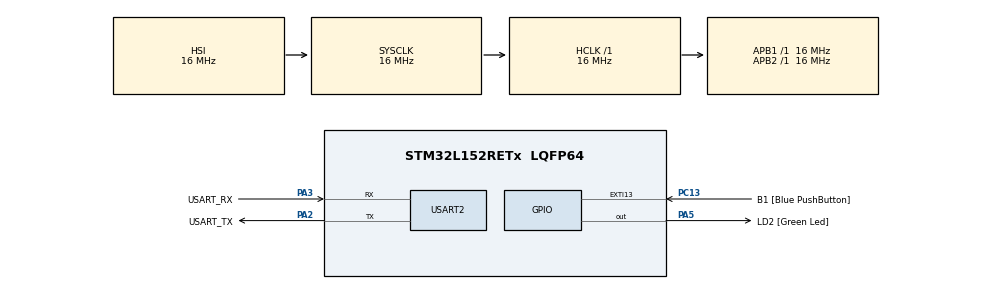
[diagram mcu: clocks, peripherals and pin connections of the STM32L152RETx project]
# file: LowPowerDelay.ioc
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Mcu.Family=STM32L1
Mcu.Name=STM32L152RETx
Mcu.Package=LQFP64
NVIC.PriorityGroup=NVIC_PRIORITYGROUP_0
NVIC.RTC_WKUP_IRQn=true\:0\:0\:false\:false\:true\:true
PA13.GPIO_Label=TMS
PA13.Mode=Serial_Wire
PA13.Signal=SYS_JTMS-SWDIO
PA14.GPIO_Label=TCK
PA14.Mode=Serial_Wire
PA14.Signal=SYS_JTCK-SWCLK
PA2.GPIO_Label=USART_TX
PA2.Mode=Asynchronous
PA2.Signal=USART2_TX
PA3.GPIO_Label=USART_RX
PA3.Mode=Asynchronous
PA3.Signal=USART2_RX
PA5.GPIO_Label=LD2 [Green Led]
PA5.Signal=GPIO_Output
PB3.GPIO_Label=SWO
PB3.Signal=SYS_JTDO-TRACESWO
PC13-WKUP2.GPIO_Label=B1 [Blue PushButton]
PC13-WKUP2.Signal=GPXTI13
PC14-OSC32_IN.Mode=LSE-External-Oscillator
PC14-OSC32_IN.Signal=RCC_OSC32_IN
PC15-OSC32_OUT.Mode=LSE-External-Oscillator
PC15-OSC32_OUT.Signal=RCC_OSC32_OUT
PH0-OSC_IN.Mode=HSE-External-Clock-Source
PH0-OSC_IN.Signal=RCC_OSC_IN
PH1-OSC_OUT.Signal=RCC_OSC_OUT
ProjectManager.HeapSize=0x200
ProjectManager.StackSize=0x400
ProjectManager.TargetToolchain=MDK-ARM V5
RCC.48MHZClocksFreq_Value=24000000
RCC.AHBFreq_Value=16000000
RCC.APB1Freq_Value=16000000
RCC.APB1TimFreq_Value=16000000
RCC.APB2Freq_Value=16000000
RCC.APB2TimFreq_Value=16000000
RCC.HCLKFreq_Value=16000000
RCC.HSE_VALUE=8000000
RCC.HSI_VALUE=16000000
RCC.MSIClockRange=RCC_MSIRANGE_6
RCC.MSI_VALUE=4194000
RCC.RTCClockSelection=RCC_RTCCLKSOURCE_LSI
RCC.RTCClockSelectionVirtual=RCC_RTCCLKSOURCE_LSE
RCC.SYSCLKFreq_VALUE=16000000
RCC.SYSCLKSource=RCC_SYSCLKSOURCE_HSI
RCC.USBOutput=48000000
RCC.VCOOutputFreq_Value=48000000
RTC.AsynchPrediv=0x7c
RTC.SynchPrediv=0x127
USART2.VirtualMode=VM_ASYNC
VP_RTC_VS_RTC_Activate.Mode=RTC_Enabled
VP_RTC_VS_RTC_Calendar.Mode=RTC_Calendar
VP_RTC_VS_RTC_WakeUp_intern.Mode=WakeUp
board=NUCLEO-L152RE

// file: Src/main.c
/* USER CODE BEGIN Header */

/* USER CODE END Header */

#include "main.h"

RTC_HandleTypeDef hrtc;

UART_HandleTypeDef huart2;

void SystemClock_Config(void);
static void MX_GPIO_Init(void);
static void MX_USART2_UART_Init(void);
static void MX_RTC_Init(void);
/* USER CODE BEGIN PFP */
void HAL_Delay2(__IO uint32_t Delay);
/* USER CODE END PFP */

int main(void)
{

  /* MCU Configuration--------------------------------------------------------*/

  /* Reset of all peripherals, Initializes the Flash interface and the Systick. */
  HAL_Init();

  /* Configure the system clock */
  SystemClock_Config();

  /* Initialize all configured peripherals */
  MX_GPIO_Init();
  MX_USART2_UART_Init();
  MX_RTC_Init();

  /* Infinite loop */
  /* USER CODE BEGIN WHILE */
  volatile GPIO_PinState tmp = GPIO_PIN_RESET;
  while (1)
  {
    /* USER CODE END WHILE */

    /* USER CODE BEGIN 3 */
     HAL_GPIO_WritePin(LD2_GPIO_Port, LD2_Pin, tmp);
      tmp = tmp == GPIO_PIN_RESET ? GPIO_PIN_SET : GPIO_PIN_RESET;
      //HAL_Delay(5000);
      HAL_Delay2(5000);
  }
  /* USER CODE END 3 */
}

void SystemClock_Config(void)
{
  RCC_OscInitTypeDef RCC_OscInitStruct = {0};
  RCC_ClkInitTypeDef RCC_ClkInitStruct = {0};
  RCC_PeriphCLKInitTypeDef PeriphClkInit = {0};

  /**Configure the main internal regulator output voltage
  */
  __HAL_PWR_VOLTAGESCALING_CONFIG(PWR_REGULATOR_VOLTAGE_SCALE1);
  /**Initializes the CPU, AHB and APB busses clocks
  */
  RCC_OscInitStruct.OscillatorType = RCC_OSCILLATORTYPE_HSI|RCC_OSCILLATORTYPE_LSI;
  RCC_OscInitStruct.HSIState = RCC_HSI_ON;
  RCC_OscInitStruct.HSICalibrationValue = RCC_HSICALIBRATION_DEFAULT;
  RCC_OscInitStruct.LSIState = RCC_LSI_ON;
  RCC_OscInitStruct.PLL.PLLState = RCC_PLL_NONE;
  if (HAL_RCC_OscConfig(&RCC_OscInitStruct) != HAL_OK)
  {
    Error_Handler();
  }
  /**Initializes the CPU, AHB and APB busses clocks
  */
  RCC_ClkInitStruct.ClockType = RCC_CLOCKTYPE_HCLK|RCC_CLOCKTYPE_SYSCLK
                              |RCC_CLOCKTYPE_PCLK1|RCC_CLOCKTYPE_PCLK2;
  RCC_ClkInitStruct.SYSCLKSource = RCC_SYSCLKSOURCE_HSI;
  RCC_ClkInitStruct.AHBCLKDivider = RCC_SYSCLK_DIV1;
  RCC_ClkInitStruct.APB1CLKDivider = RCC_HCLK_DIV1;
  RCC_ClkInitStruct.APB2CLKDivider = RCC_HCLK_DIV1;

  if (HAL_RCC_ClockConfig(&RCC_ClkInitStruct, FLASH_LATENCY_0) != HAL_OK)
  {
    Error_Handler();
  }
  PeriphClkInit.PeriphClockSelection = RCC_PERIPHCLK_RTC;
  PeriphClkInit.RTCClockSelection = RCC_RTCCLKSOURCE_LSI;
  if (HAL_RCCEx_PeriphCLKConfig(&PeriphClkInit) != HAL_OK)
  {
    Error_Handler();
  }
}

static void MX_RTC_Init(void)
{

  RTC_TimeTypeDef sTime = {0};
  RTC_DateTypeDef sDate = {0};

  /**Initialize RTC Only
  */
  hrtc.Instance = RTC;
  hrtc.Init.HourFormat = RTC_HOURFORMAT_24;
  hrtc.Init.AsynchPrediv = 0x7c;
  hrtc.Init.SynchPrediv = 0x127;
  hrtc.Init.OutPut = RTC_OUTPUT_DISABLE;
  hrtc.Init.OutPutPolarity = RTC_OUTPUT_POLARITY_HIGH;
  hrtc.Init.OutPutType = RTC_OUTPUT_TYPE_OPENDRAIN;
  if (HAL_RTC_Init(&hrtc) != HAL_OK)
  {
    Error_Handler();
  }

  /**Initialize RTC and set the Time and Date
  */
  sTime.Hours = 0x0;
  sTime.Minutes = 0x0;
  sTime.Seconds = 0x0;
  sTime.DayLightSaving = RTC_DAYLIGHTSAVING_NONE;
  sTime.StoreOperation = RTC_STOREOPERATION_RESET;
  if (HAL_RTC_SetTime(&hrtc, &sTime, RTC_FORMAT_BCD) != HAL_OK)
  {
    Error_Handler();
  }
  sDate.WeekDay = RTC_WEEKDAY_MONDAY;
  sDate.Month = RTC_MONTH_JANUARY;
  sDate.Date = 0x1;
  sDate.Year = 0x0;

  if (HAL_RTC_SetDate(&hrtc, &sDate, RTC_FORMAT_BCD) != HAL_OK)
  {
    Error_Handler();
  }
  /**Enable the WakeUp
  */
  if (HAL_RTCEx_SetWakeUpTimer_IT(&hrtc, 0, RTC_WAKEUPCLOCK_RTCCLK_DIV16) != HAL_OK)
  {
    Error_Handler();
  }

}

static void MX_USART2_UART_Init(void)
{

  huart2.Instance = USART2;
  huart2.Init.BaudRate = 115200;
  huart2.Init.WordLength = UART_WORDLENGTH_8B;
  huart2.Init.StopBits = UART_STOPBITS_1;
  huart2.Init.Parity = UART_PARITY_NONE;
  huart2.Init.Mode = UART_MODE_TX_RX;
  huart2.Init.HwFlowCtl = UART_HWCONTROL_NONE;
  huart2.Init.OverSampling = UART_OVERSAMPLING_16;
  if (HAL_UART_Init(&huart2) != HAL_OK)
  {
    Error_Handler();
  }

}

static void MX_GPIO_Init(void)
{
  GPIO_InitTypeDef GPIO_InitStruct = {0};

  /* GPIO Ports Clock Enable */
  __HAL_RCC_GPIOC_CLK_ENABLE();
  __HAL_RCC_GPIOH_CLK_ENABLE();
  __HAL_RCC_GPIOA_CLK_ENABLE();
  __HAL_RCC_GPIOB_CLK_ENABLE();

  /*Configure GPIO pin Output Level */
  HAL_GPIO_WritePin(LD2_GPIO_Port, LD2_Pin, GPIO_PIN_RESET);

  /*Configure GPIO pin : B1_Pin */
  GPIO_InitStruct.Pin = B1_Pin;
  GPIO_InitStruct.Mode = GPIO_MODE_IT_RISING;
  GPIO_InitStruct.Pull = GPIO_NOPULL;
  HAL_GPIO_Init(B1_GPIO_Port, &GPIO_InitStruct);

  /*Configure GPIO pin : LD2_Pin */
  GPIO_InitStruct.Pin = LD2_Pin;
  GPIO_InitStruct.Mode = GPIO_MODE_OUTPUT_PP;
  GPIO_InitStruct.Pull = GPIO_NOPULL;
  GPIO_InitStruct.Speed = GPIO_SPEED_FREQ_LOW;
  HAL_GPIO_Init(LD2_GPIO_Port, &GPIO_InitStruct);

}

/* USER CODE BEGIN 4 */
static void GPIO_DeInit(void)
{
    // set the configuration for the GPIO ports (PA, PB, PC) to be analog inputs for low power
    GPIO_InitTypeDef GPIO_InitStructure = {0};
    GPIO_InitStructure.Pin = GPIO_PIN_All;
    GPIO_InitStructure.Mode = GPIO_MODE_ANALOG;
    GPIO_InitStructure.Pull = GPIO_NOPULL;

    // GPIO_A is preserved to keep output status unchanged and have
    // Interrupt working for waking Up.
    // GPIO_B and GPIO_C are disabled
    //HAL_GPIO_Init(GPIOB, &GPIO_InitStructure);
    //__HAL_RCC_GPIOB_CLK_DISABLE();
    HAL_GPIO_Init(GPIOC, &GPIO_InitStructure);
    __HAL_RCC_GPIOC_CLK_DISABLE();
}

void HAL_Delay2(__IO uint32_t Delay)
{
    // the RTC is clocked by LSI, which means Wake Up clock is RTCCLK /16
    uint32_t TimeValue = (Delay * (LSI_VALUE / 16)) / 1000;
    HAL_RTCEx_SetWakeUpTimer_IT(&hrtc, TimeValue, RTC_WAKEUPCLOCK_RTCCLK_DIV16);

    __HAL_RCC_PWR_CLK_ENABLE(); // Enable Power Control clock
    HAL_PWREx_EnableUltraLowPower(); // Ultra low power mode
    HAL_PWREx_EnableFastWakeUp(); // Fast wake-up for ultra low power mode

    // turn off GPIO to save power
    GPIO_DeInit();

    // switch to STOP mode
    // the microcontroller is sleeping in this function. It will resume on interrupt
    EXTI->PR = 0xFFFFFFFF; // https://community.st.com/s/question/0D50X00009Xke5iSAB/enter-and-exit-stop-mode-with-rtc-and-exti
    HAL_PWR_EnterSTOPMode(PWR_LOWPOWERREGULATOR_ON, PWR_STOPENTRY_WFI);

    // Now we're waking up, so set up clocks again
    SystemClock_Config();

    // Deactivate RTC wakeUp
    HAL_RTCEx_DeactivateWakeUpTimer(&hrtc);

    // Reinit GPIOs
    MX_GPIO_Init();
}

/* USER CODE END 4 */

void Error_Handler(void)
{
}

/************************ (C) COPYRIGHT STMicroelectronics *****END OF FILE****/
